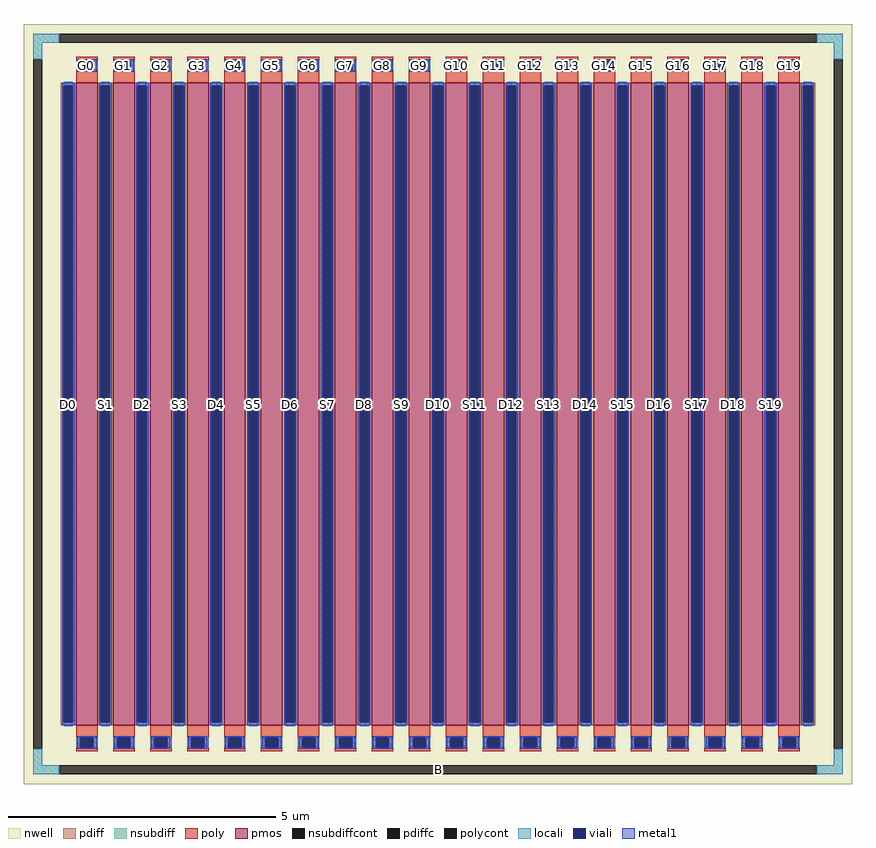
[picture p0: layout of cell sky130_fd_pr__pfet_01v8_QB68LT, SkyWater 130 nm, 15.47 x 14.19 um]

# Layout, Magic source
magic
tech sky130A
magscale 1 2
<< nwell >>
rect -1547 -1419 1547 1419
<< pmos >>
rect -1351 -1200 -1271 1200
rect -1213 -1200 -1133 1200
rect -1075 -1200 -995 1200
rect -937 -1200 -857 1200
rect -799 -1200 -719 1200
rect -661 -1200 -581 1200
rect -523 -1200 -443 1200
rect -385 -1200 -305 1200
rect -247 -1200 -167 1200
rect -109 -1200 -29 1200
rect 29 -1200 109 1200
rect 167 -1200 247 1200
rect 305 -1200 385 1200
rect 443 -1200 523 1200
rect 581 -1200 661 1200
rect 719 -1200 799 1200
rect 857 -1200 937 1200
rect 995 -1200 1075 1200
rect 1133 -1200 1213 1200
rect 1271 -1200 1351 1200
<< pdiff >>
rect -1409 1188 -1351 1200
rect -1409 -1188 -1397 1188
rect -1363 -1188 -1351 1188
rect -1409 -1200 -1351 -1188
rect -1271 1188 -1213 1200
rect -1271 -1188 -1259 1188
rect -1225 -1188 -1213 1188
rect -1271 -1200 -1213 -1188
rect -1133 1188 -1075 1200
rect -1133 -1188 -1121 1188
rect -1087 -1188 -1075 1188
rect -1133 -1200 -1075 -1188
rect -995 1188 -937 1200
rect -995 -1188 -983 1188
rect -949 -1188 -937 1188
rect -995 -1200 -937 -1188
rect -857 1188 -799 1200
rect -857 -1188 -845 1188
rect -811 -1188 -799 1188
rect -857 -1200 -799 -1188
rect -719 1188 -661 1200
rect -719 -1188 -707 1188
rect -673 -1188 -661 1188
rect -719 -1200 -661 -1188
rect -581 1188 -523 1200
rect -581 -1188 -569 1188
rect -535 -1188 -523 1188
rect -581 -1200 -523 -1188
rect -443 1188 -385 1200
rect -443 -1188 -431 1188
rect -397 -1188 -385 1188
rect -443 -1200 -385 -1188
rect -305 1188 -247 1200
rect -305 -1188 -293 1188
rect -259 -1188 -247 1188
rect -305 -1200 -247 -1188
rect -167 1188 -109 1200
rect -167 -1188 -155 1188
rect -121 -1188 -109 1188
rect -167 -1200 -109 -1188
rect -29 1188 29 1200
rect -29 -1188 -17 1188
rect 17 -1188 29 1188
rect -29 -1200 29 -1188
rect 109 1188 167 1200
rect 109 -1188 121 1188
rect 155 -1188 167 1188
rect 109 -1200 167 -1188
rect 247 1188 305 1200
rect 247 -1188 259 1188
rect 293 -1188 305 1188
rect 247 -1200 305 -1188
rect 385 1188 443 1200
rect 385 -1188 397 1188
rect 431 -1188 443 1188
rect 385 -1200 443 -1188
rect 523 1188 581 1200
rect 523 -1188 535 1188
rect 569 -1188 581 1188
rect 523 -1200 581 -1188
rect 661 1188 719 1200
rect 661 -1188 673 1188
rect 707 -1188 719 1188
rect 661 -1200 719 -1188
rect 799 1188 857 1200
rect 799 -1188 811 1188
rect 845 -1188 857 1188
rect 799 -1200 857 -1188
rect 937 1188 995 1200
rect 937 -1188 949 1188
rect 983 -1188 995 1188
rect 937 -1200 995 -1188
rect 1075 1188 1133 1200
rect 1075 -1188 1087 1188
rect 1121 -1188 1133 1188
rect 1075 -1200 1133 -1188
rect 1213 1188 1271 1200
rect 1213 -1188 1225 1188
rect 1259 -1188 1271 1188
rect 1213 -1200 1271 -1188
rect 1351 1188 1409 1200
rect 1351 -1188 1363 1188
rect 1397 -1188 1409 1188
rect 1351 -1200 1409 -1188
<< pdiffc >>
rect -1397 -1188 -1363 1188
rect -1259 -1188 -1225 1188
rect -1121 -1188 -1087 1188
rect -983 -1188 -949 1188
rect -845 -1188 -811 1188
rect -707 -1188 -673 1188
rect -569 -1188 -535 1188
rect -431 -1188 -397 1188
rect -293 -1188 -259 1188
rect -155 -1188 -121 1188
rect -17 -1188 17 1188
rect 121 -1188 155 1188
rect 259 -1188 293 1188
rect 397 -1188 431 1188
rect 535 -1188 569 1188
rect 673 -1188 707 1188
rect 811 -1188 845 1188
rect 949 -1188 983 1188
rect 1087 -1188 1121 1188
rect 1225 -1188 1259 1188
rect 1363 -1188 1397 1188
<< nsubdiff >>
rect -1511 1349 -1415 1383
rect 1415 1349 1511 1383
rect -1511 1287 -1477 1349
rect 1477 1287 1511 1349
rect -1511 -1349 -1477 -1287
rect 1477 -1349 1511 -1287
rect -1511 -1383 -1415 -1349
rect 1415 -1383 1511 -1349
<< nsubdiffcont >>
rect -1415 1349 1415 1383
rect -1511 -1287 -1477 1287
rect 1477 -1287 1511 1287
rect -1415 -1383 1415 -1349
<< poly >>
rect -1351 1281 -1271 1297
rect -1351 1247 -1335 1281
rect -1287 1247 -1271 1281
rect -1351 1200 -1271 1247
rect -1213 1281 -1133 1297
rect -1213 1247 -1197 1281
rect -1149 1247 -1133 1281
rect -1213 1200 -1133 1247
rect -1075 1281 -995 1297
rect -1075 1247 -1059 1281
rect -1011 1247 -995 1281
rect -1075 1200 -995 1247
rect -937 1281 -857 1297
rect -937 1247 -921 1281
rect -873 1247 -857 1281
rect -937 1200 -857 1247
rect -799 1281 -719 1297
rect -799 1247 -783 1281
rect -735 1247 -719 1281
rect -799 1200 -719 1247
rect -661 1281 -581 1297
rect -661 1247 -645 1281
rect -597 1247 -581 1281
rect -661 1200 -581 1247
rect -523 1281 -443 1297
rect -523 1247 -507 1281
rect -459 1247 -443 1281
rect -523 1200 -443 1247
rect -385 1281 -305 1297
rect -385 1247 -369 1281
rect -321 1247 -305 1281
rect -385 1200 -305 1247
rect -247 1281 -167 1297
rect -247 1247 -231 1281
rect -183 1247 -167 1281
rect -247 1200 -167 1247
rect -109 1281 -29 1297
rect -109 1247 -93 1281
rect -45 1247 -29 1281
rect -109 1200 -29 1247
rect 29 1281 109 1297
rect 29 1247 45 1281
rect 93 1247 109 1281
rect 29 1200 109 1247
rect 167 1281 247 1297
rect 167 1247 183 1281
rect 231 1247 247 1281
rect 167 1200 247 1247
rect 305 1281 385 1297
rect 305 1247 321 1281
rect 369 1247 385 1281
rect 305 1200 385 1247
rect 443 1281 523 1297
rect 443 1247 459 1281
rect 507 1247 523 1281
rect 443 1200 523 1247
rect 581 1281 661 1297
rect 581 1247 597 1281
rect 645 1247 661 1281
rect 581 1200 661 1247
rect 719 1281 799 1297
rect 719 1247 735 1281
rect 783 1247 799 1281
rect 719 1200 799 1247
rect 857 1281 937 1297
rect 857 1247 873 1281
rect 921 1247 937 1281
rect 857 1200 937 1247
rect 995 1281 1075 1297
rect 995 1247 1011 1281
rect 1059 1247 1075 1281
rect 995 1200 1075 1247
rect 1133 1281 1213 1297
rect 1133 1247 1149 1281
rect 1197 1247 1213 1281
rect 1133 1200 1213 1247
rect 1271 1281 1351 1297
rect 1271 1247 1287 1281
rect 1335 1247 1351 1281
rect 1271 1200 1351 1247
rect -1351 -1247 -1271 -1200
rect -1351 -1281 -1335 -1247
rect -1287 -1281 -1271 -1247
rect -1351 -1297 -1271 -1281
rect -1213 -1247 -1133 -1200
rect -1213 -1281 -1197 -1247
rect -1149 -1281 -1133 -1247
rect -1213 -1297 -1133 -1281
rect -1075 -1247 -995 -1200
rect -1075 -1281 -1059 -1247
rect -1011 -1281 -995 -1247
rect -1075 -1297 -995 -1281
rect -937 -1247 -857 -1200
rect -937 -1281 -921 -1247
rect -873 -1281 -857 -1247
rect -937 -1297 -857 -1281
rect -799 -1247 -719 -1200
rect -799 -1281 -783 -1247
rect -735 -1281 -719 -1247
rect -799 -1297 -719 -1281
rect -661 -1247 -581 -1200
rect -661 -1281 -645 -1247
rect -597 -1281 -581 -1247
rect -661 -1297 -581 -1281
rect -523 -1247 -443 -1200
rect -523 -1281 -507 -1247
rect -459 -1281 -443 -1247
rect -523 -1297 -443 -1281
rect -385 -1247 -305 -1200
rect -385 -1281 -369 -1247
rect -321 -1281 -305 -1247
rect -385 -1297 -305 -1281
rect -247 -1247 -167 -1200
rect -247 -1281 -231 -1247
rect -183 -1281 -167 -1247
rect -247 -1297 -167 -1281
rect -109 -1247 -29 -1200
rect -109 -1281 -93 -1247
rect -45 -1281 -29 -1247
rect -109 -1297 -29 -1281
rect 29 -1247 109 -1200
rect 29 -1281 45 -1247
rect 93 -1281 109 -1247
rect 29 -1297 109 -1281
rect 167 -1247 247 -1200
rect 167 -1281 183 -1247
rect 231 -1281 247 -1247
rect 167 -1297 247 -1281
rect 305 -1247 385 -1200
rect 305 -1281 321 -1247
rect 369 -1281 385 -1247
rect 305 -1297 385 -1281
rect 443 -1247 523 -1200
rect 443 -1281 459 -1247
rect 507 -1281 523 -1247
rect 443 -1297 523 -1281
rect 581 -1247 661 -1200
rect 581 -1281 597 -1247
rect 645 -1281 661 -1247
rect 581 -1297 661 -1281
rect 719 -1247 799 -1200
rect 719 -1281 735 -1247
rect 783 -1281 799 -1247
rect 719 -1297 799 -1281
rect 857 -1247 937 -1200
rect 857 -1281 873 -1247
rect 921 -1281 937 -1247
rect 857 -1297 937 -1281
rect 995 -1247 1075 -1200
rect 995 -1281 1011 -1247
rect 1059 -1281 1075 -1247
rect 995 -1297 1075 -1281
rect 1133 -1247 1213 -1200
rect 1133 -1281 1149 -1247
rect 1197 -1281 1213 -1247
rect 1133 -1297 1213 -1281
rect 1271 -1247 1351 -1200
rect 1271 -1281 1287 -1247
rect 1335 -1281 1351 -1247
rect 1271 -1297 1351 -1281
<< polycont >>
rect -1335 1247 -1287 1281
rect -1197 1247 -1149 1281
rect -1059 1247 -1011 1281
rect -921 1247 -873 1281
rect -783 1247 -735 1281
rect -645 1247 -597 1281
rect -507 1247 -459 1281
rect -369 1247 -321 1281
rect -231 1247 -183 1281
rect -93 1247 -45 1281
rect 45 1247 93 1281
rect 183 1247 231 1281
rect 321 1247 369 1281
rect 459 1247 507 1281
rect 597 1247 645 1281
rect 735 1247 783 1281
rect 873 1247 921 1281
rect 1011 1247 1059 1281
rect 1149 1247 1197 1281
rect 1287 1247 1335 1281
rect -1335 -1281 -1287 -1247
rect -1197 -1281 -1149 -1247
rect -1059 -1281 -1011 -1247
rect -921 -1281 -873 -1247
rect -783 -1281 -735 -1247
rect -645 -1281 -597 -1247
rect -507 -1281 -459 -1247
rect -369 -1281 -321 -1247
rect -231 -1281 -183 -1247
rect -93 -1281 -45 -1247
rect 45 -1281 93 -1247
rect 183 -1281 231 -1247
rect 321 -1281 369 -1247
rect 459 -1281 507 -1247
rect 597 -1281 645 -1247
rect 735 -1281 783 -1247
rect 873 -1281 921 -1247
rect 1011 -1281 1059 -1247
rect 1149 -1281 1197 -1247
rect 1287 -1281 1335 -1247
<< locali >>
rect -1511 1349 -1415 1383
rect 1415 1349 1511 1383
rect -1511 1287 -1477 1349
rect 1477 1287 1511 1349
rect -1351 1247 -1335 1281
rect -1287 1247 -1271 1281
rect -1213 1247 -1197 1281
rect -1149 1247 -1133 1281
rect -1075 1247 -1059 1281
rect -1011 1247 -995 1281
rect -937 1247 -921 1281
rect -873 1247 -857 1281
rect -799 1247 -783 1281
rect -735 1247 -719 1281
rect -661 1247 -645 1281
rect -597 1247 -581 1281
rect -523 1247 -507 1281
rect -459 1247 -443 1281
rect -385 1247 -369 1281
rect -321 1247 -305 1281
rect -247 1247 -231 1281
rect -183 1247 -167 1281
rect -109 1247 -93 1281
rect -45 1247 -29 1281
rect 29 1247 45 1281
rect 93 1247 109 1281
rect 167 1247 183 1281
rect 231 1247 247 1281
rect 305 1247 321 1281
rect 369 1247 385 1281
rect 443 1247 459 1281
rect 507 1247 523 1281
rect 581 1247 597 1281
rect 645 1247 661 1281
rect 719 1247 735 1281
rect 783 1247 799 1281
rect 857 1247 873 1281
rect 921 1247 937 1281
rect 995 1247 1011 1281
rect 1059 1247 1075 1281
rect 1133 1247 1149 1281
rect 1197 1247 1213 1281
rect 1271 1247 1287 1281
rect 1335 1247 1351 1281
rect -1397 1188 -1363 1204
rect -1397 -1204 -1363 -1188
rect -1259 1188 -1225 1204
rect -1259 -1204 -1225 -1188
rect -1121 1188 -1087 1204
rect -1121 -1204 -1087 -1188
rect -983 1188 -949 1204
rect -983 -1204 -949 -1188
rect -845 1188 -811 1204
rect -845 -1204 -811 -1188
rect -707 1188 -673 1204
rect -707 -1204 -673 -1188
rect -569 1188 -535 1204
rect -569 -1204 -535 -1188
rect -431 1188 -397 1204
rect -431 -1204 -397 -1188
rect -293 1188 -259 1204
rect -293 -1204 -259 -1188
rect -155 1188 -121 1204
rect -155 -1204 -121 -1188
rect -17 1188 17 1204
rect -17 -1204 17 -1188
rect 121 1188 155 1204
rect 121 -1204 155 -1188
rect 259 1188 293 1204
rect 259 -1204 293 -1188
rect 397 1188 431 1204
rect 397 -1204 431 -1188
rect 535 1188 569 1204
rect 535 -1204 569 -1188
rect 673 1188 707 1204
rect 673 -1204 707 -1188
rect 811 1188 845 1204
rect 811 -1204 845 -1188
rect 949 1188 983 1204
rect 949 -1204 983 -1188
rect 1087 1188 1121 1204
rect 1087 -1204 1121 -1188
rect 1225 1188 1259 1204
rect 1225 -1204 1259 -1188
rect 1363 1188 1397 1204
rect 1363 -1204 1397 -1188
rect -1351 -1281 -1335 -1247
rect -1287 -1281 -1271 -1247
rect -1213 -1281 -1197 -1247
rect -1149 -1281 -1133 -1247
rect -1075 -1281 -1059 -1247
rect -1011 -1281 -995 -1247
rect -937 -1281 -921 -1247
rect -873 -1281 -857 -1247
rect -799 -1281 -783 -1247
rect -735 -1281 -719 -1247
rect -661 -1281 -645 -1247
rect -597 -1281 -581 -1247
rect -523 -1281 -507 -1247
rect -459 -1281 -443 -1247
rect -385 -1281 -369 -1247
rect -321 -1281 -305 -1247
rect -247 -1281 -231 -1247
rect -183 -1281 -167 -1247
rect -109 -1281 -93 -1247
rect -45 -1281 -29 -1247
rect 29 -1281 45 -1247
rect 93 -1281 109 -1247
rect 167 -1281 183 -1247
rect 231 -1281 247 -1247
rect 305 -1281 321 -1247
rect 369 -1281 385 -1247
rect 443 -1281 459 -1247
rect 507 -1281 523 -1247
rect 581 -1281 597 -1247
rect 645 -1281 661 -1247
rect 719 -1281 735 -1247
rect 783 -1281 799 -1247
rect 857 -1281 873 -1247
rect 921 -1281 937 -1247
rect 995 -1281 1011 -1247
rect 1059 -1281 1075 -1247
rect 1133 -1281 1149 -1247
rect 1197 -1281 1213 -1247
rect 1271 -1281 1287 -1247
rect 1335 -1281 1351 -1247
rect -1511 -1349 -1477 -1287
rect 1477 -1349 1511 -1287
rect -1511 -1383 -1415 -1349
rect 1415 -1383 1511 -1349
<< viali >>
rect -1335 1247 -1287 1281
rect -1197 1247 -1149 1281
rect -1059 1247 -1011 1281
rect -921 1247 -873 1281
rect -783 1247 -735 1281
rect -645 1247 -597 1281
rect -507 1247 -459 1281
rect -369 1247 -321 1281
rect -231 1247 -183 1281
rect -93 1247 -45 1281
rect 45 1247 93 1281
rect 183 1247 231 1281
rect 321 1247 369 1281
rect 459 1247 507 1281
rect 597 1247 645 1281
rect 735 1247 783 1281
rect 873 1247 921 1281
rect 1011 1247 1059 1281
rect 1149 1247 1197 1281
rect 1287 1247 1335 1281
rect -1397 -1188 -1363 1188
rect -1259 -1188 -1225 1188
rect -1121 -1188 -1087 1188
rect -983 -1188 -949 1188
rect -845 -1188 -811 1188
rect -707 -1188 -673 1188
rect -569 -1188 -535 1188
rect -431 -1188 -397 1188
rect -293 -1188 -259 1188
rect -155 -1188 -121 1188
rect -17 -1188 17 1188
rect 121 -1188 155 1188
rect 259 -1188 293 1188
rect 397 -1188 431 1188
rect 535 -1188 569 1188
rect 673 -1188 707 1188
rect 811 -1188 845 1188
rect 949 -1188 983 1188
rect 1087 -1188 1121 1188
rect 1225 -1188 1259 1188
rect 1363 -1188 1397 1188
rect -1335 -1281 -1287 -1247
rect -1197 -1281 -1149 -1247
rect -1059 -1281 -1011 -1247
rect -921 -1281 -873 -1247
rect -783 -1281 -735 -1247
rect -645 -1281 -597 -1247
rect -507 -1281 -459 -1247
rect -369 -1281 -321 -1247
rect -231 -1281 -183 -1247
rect -93 -1281 -45 -1247
rect 45 -1281 93 -1247
rect 183 -1281 231 -1247
rect 321 -1281 369 -1247
rect 459 -1281 507 -1247
rect 597 -1281 645 -1247
rect 735 -1281 783 -1247
rect 873 -1281 921 -1247
rect 1011 -1281 1059 -1247
rect 1149 -1281 1197 -1247
rect 1287 -1281 1335 -1247
<< metal1 >>
rect -1347 1281 -1275 1287
rect -1347 1247 -1335 1281
rect -1287 1247 -1275 1281
rect -1347 1241 -1275 1247
rect -1209 1281 -1137 1287
rect -1209 1247 -1197 1281
rect -1149 1247 -1137 1281
rect -1209 1241 -1137 1247
rect -1071 1281 -999 1287
rect -1071 1247 -1059 1281
rect -1011 1247 -999 1281
rect -1071 1241 -999 1247
rect -933 1281 -861 1287
rect -933 1247 -921 1281
rect -873 1247 -861 1281
rect -933 1241 -861 1247
rect -795 1281 -723 1287
rect -795 1247 -783 1281
rect -735 1247 -723 1281
rect -795 1241 -723 1247
rect -657 1281 -585 1287
rect -657 1247 -645 1281
rect -597 1247 -585 1281
rect -657 1241 -585 1247
rect -519 1281 -447 1287
rect -519 1247 -507 1281
rect -459 1247 -447 1281
rect -519 1241 -447 1247
rect -381 1281 -309 1287
rect -381 1247 -369 1281
rect -321 1247 -309 1281
rect -381 1241 -309 1247
rect -243 1281 -171 1287
rect -243 1247 -231 1281
rect -183 1247 -171 1281
rect -243 1241 -171 1247
rect -105 1281 -33 1287
rect -105 1247 -93 1281
rect -45 1247 -33 1281
rect -105 1241 -33 1247
rect 33 1281 105 1287
rect 33 1247 45 1281
rect 93 1247 105 1281
rect 33 1241 105 1247
rect 171 1281 243 1287
rect 171 1247 183 1281
rect 231 1247 243 1281
rect 171 1241 243 1247
rect 309 1281 381 1287
rect 309 1247 321 1281
rect 369 1247 381 1281
rect 309 1241 381 1247
rect 447 1281 519 1287
rect 447 1247 459 1281
rect 507 1247 519 1281
rect 447 1241 519 1247
rect 585 1281 657 1287
rect 585 1247 597 1281
rect 645 1247 657 1281
rect 585 1241 657 1247
rect 723 1281 795 1287
rect 723 1247 735 1281
rect 783 1247 795 1281
rect 723 1241 795 1247
rect 861 1281 933 1287
rect 861 1247 873 1281
rect 921 1247 933 1281
rect 861 1241 933 1247
rect 999 1281 1071 1287
rect 999 1247 1011 1281
rect 1059 1247 1071 1281
rect 999 1241 1071 1247
rect 1137 1281 1209 1287
rect 1137 1247 1149 1281
rect 1197 1247 1209 1281
rect 1137 1241 1209 1247
rect 1275 1281 1347 1287
rect 1275 1247 1287 1281
rect 1335 1247 1347 1281
rect 1275 1241 1347 1247
rect -1403 1188 -1357 1200
rect -1403 -1188 -1397 1188
rect -1363 -1188 -1357 1188
rect -1403 -1200 -1357 -1188
rect -1265 1188 -1219 1200
rect -1265 -1188 -1259 1188
rect -1225 -1188 -1219 1188
rect -1265 -1200 -1219 -1188
rect -1127 1188 -1081 1200
rect -1127 -1188 -1121 1188
rect -1087 -1188 -1081 1188
rect -1127 -1200 -1081 -1188
rect -989 1188 -943 1200
rect -989 -1188 -983 1188
rect -949 -1188 -943 1188
rect -989 -1200 -943 -1188
rect -851 1188 -805 1200
rect -851 -1188 -845 1188
rect -811 -1188 -805 1188
rect -851 -1200 -805 -1188
rect -713 1188 -667 1200
rect -713 -1188 -707 1188
rect -673 -1188 -667 1188
rect -713 -1200 -667 -1188
rect -575 1188 -529 1200
rect -575 -1188 -569 1188
rect -535 -1188 -529 1188
rect -575 -1200 -529 -1188
rect -437 1188 -391 1200
rect -437 -1188 -431 1188
rect -397 -1188 -391 1188
rect -437 -1200 -391 -1188
rect -299 1188 -253 1200
rect -299 -1188 -293 1188
rect -259 -1188 -253 1188
rect -299 -1200 -253 -1188
rect -161 1188 -115 1200
rect -161 -1188 -155 1188
rect -121 -1188 -115 1188
rect -161 -1200 -115 -1188
rect -23 1188 23 1200
rect -23 -1188 -17 1188
rect 17 -1188 23 1188
rect -23 -1200 23 -1188
rect 115 1188 161 1200
rect 115 -1188 121 1188
rect 155 -1188 161 1188
rect 115 -1200 161 -1188
rect 253 1188 299 1200
rect 253 -1188 259 1188
rect 293 -1188 299 1188
rect 253 -1200 299 -1188
rect 391 1188 437 1200
rect 391 -1188 397 1188
rect 431 -1188 437 1188
rect 391 -1200 437 -1188
rect 529 1188 575 1200
rect 529 -1188 535 1188
rect 569 -1188 575 1188
rect 529 -1200 575 -1188
rect 667 1188 713 1200
rect 667 -1188 673 1188
rect 707 -1188 713 1188
rect 667 -1200 713 -1188
rect 805 1188 851 1200
rect 805 -1188 811 1188
rect 845 -1188 851 1188
rect 805 -1200 851 -1188
rect 943 1188 989 1200
rect 943 -1188 949 1188
rect 983 -1188 989 1188
rect 943 -1200 989 -1188
rect 1081 1188 1127 1200
rect 1081 -1188 1087 1188
rect 1121 -1188 1127 1188
rect 1081 -1200 1127 -1188
rect 1219 1188 1265 1200
rect 1219 -1188 1225 1188
rect 1259 -1188 1265 1188
rect 1219 -1200 1265 -1188
rect 1357 1188 1403 1200
rect 1357 -1188 1363 1188
rect 1397 -1188 1403 1188
rect 1357 -1200 1403 -1188
rect -1347 -1247 -1275 -1241
rect -1347 -1281 -1335 -1247
rect -1287 -1281 -1275 -1247
rect -1347 -1287 -1275 -1281
rect -1209 -1247 -1137 -1241
rect -1209 -1281 -1197 -1247
rect -1149 -1281 -1137 -1247
rect -1209 -1287 -1137 -1281
rect -1071 -1247 -999 -1241
rect -1071 -1281 -1059 -1247
rect -1011 -1281 -999 -1247
rect -1071 -1287 -999 -1281
rect -933 -1247 -861 -1241
rect -933 -1281 -921 -1247
rect -873 -1281 -861 -1247
rect -933 -1287 -861 -1281
rect -795 -1247 -723 -1241
rect -795 -1281 -783 -1247
rect -735 -1281 -723 -1247
rect -795 -1287 -723 -1281
rect -657 -1247 -585 -1241
rect -657 -1281 -645 -1247
rect -597 -1281 -585 -1247
rect -657 -1287 -585 -1281
rect -519 -1247 -447 -1241
rect -519 -1281 -507 -1247
rect -459 -1281 -447 -1247
rect -519 -1287 -447 -1281
rect -381 -1247 -309 -1241
rect -381 -1281 -369 -1247
rect -321 -1281 -309 -1247
rect -381 -1287 -309 -1281
rect -243 -1247 -171 -1241
rect -243 -1281 -231 -1247
rect -183 -1281 -171 -1247
rect -243 -1287 -171 -1281
rect -105 -1247 -33 -1241
rect -105 -1281 -93 -1247
rect -45 -1281 -33 -1247
rect -105 -1287 -33 -1281
rect 33 -1247 105 -1241
rect 33 -1281 45 -1247
rect 93 -1281 105 -1247
rect 33 -1287 105 -1281
rect 171 -1247 243 -1241
rect 171 -1281 183 -1247
rect 231 -1281 243 -1247
rect 171 -1287 243 -1281
rect 309 -1247 381 -1241
rect 309 -1281 321 -1247
rect 369 -1281 381 -1247
rect 309 -1287 381 -1281
rect 447 -1247 519 -1241
rect 447 -1281 459 -1247
rect 507 -1281 519 -1247
rect 447 -1287 519 -1281
rect 585 -1247 657 -1241
rect 585 -1281 597 -1247
rect 645 -1281 657 -1247
rect 585 -1287 657 -1281
rect 723 -1247 795 -1241
rect 723 -1281 735 -1247
rect 783 -1281 795 -1247
rect 723 -1287 795 -1281
rect 861 -1247 933 -1241
rect 861 -1281 873 -1247
rect 921 -1281 933 -1247
rect 861 -1287 933 -1281
rect 999 -1247 1071 -1241
rect 999 -1281 1011 -1247
rect 1059 -1281 1071 -1247
rect 999 -1287 1071 -1281
rect 1137 -1247 1209 -1241
rect 1137 -1281 1149 -1247
rect 1197 -1281 1209 -1247
rect 1137 -1287 1209 -1281
rect 1275 -1247 1347 -1241
rect 1275 -1281 1287 -1247
rect 1335 -1281 1347 -1247
rect 1275 -1287 1347 -1281
<< labels >>
rlabel nsubdiffcont 0 -1366 0 -1366 0 B
port 206 nsew
rlabel pdiffc -1380 0 -1380 0 0 D0
port 207 nsew
rlabel polycont -1311 1264 -1311 1264 0 G0
port 208 nsew
rlabel pdiffc -1242 0 -1242 0 0 S1
port 209 nsew
rlabel polycont -1173 1264 -1173 1264 0 G1
port 210 nsew
rlabel pdiffc -1104 0 -1104 0 0 D2
port 211 nsew
rlabel polycont -1035 1264 -1035 1264 0 G2
port 212 nsew
rlabel pdiffc -966 0 -966 0 0 S3
port 213 nsew
rlabel polycont -897 1264 -897 1264 0 G3
port 214 nsew
rlabel pdiffc -828 0 -828 0 0 D4
port 215 nsew
rlabel polycont -759 1264 -759 1264 0 G4
port 216 nsew
rlabel pdiffc -690 0 -690 0 0 S5
port 217 nsew
rlabel polycont -621 1264 -621 1264 0 G5
port 218 nsew
rlabel pdiffc -552 0 -552 0 0 D6
port 219 nsew
rlabel polycont -483 1264 -483 1264 0 G6
port 220 nsew
rlabel pdiffc -414 0 -414 0 0 S7
port 221 nsew
rlabel polycont -345 1264 -345 1264 0 G7
port 222 nsew
rlabel pdiffc -276 0 -276 0 0 D8
port 223 nsew
rlabel polycont -207 1264 -207 1264 0 G8
port 224 nsew
rlabel pdiffc -138 0 -138 0 0 S9
port 225 nsew
rlabel polycont -69 1264 -69 1264 0 G9
port 226 nsew
rlabel pdiffc 0 0 0 0 0 D10
port 227 nsew
rlabel polycont 69 1264 69 1264 0 G10
port 228 nsew
rlabel pdiffc 138 0 138 0 0 S11
port 229 nsew
rlabel polycont 207 1264 207 1264 0 G11
port 230 nsew
rlabel pdiffc 276 0 276 0 0 D12
port 231 nsew
rlabel polycont 345 1264 345 1264 0 G12
port 232 nsew
rlabel pdiffc 414 0 414 0 0 S13
port 233 nsew
rlabel polycont 483 1264 483 1264 0 G13
port 234 nsew
rlabel pdiffc 552 0 552 0 0 D14
port 235 nsew
rlabel polycont 621 1264 621 1264 0 G14
port 236 nsew
rlabel pdiffc 690 0 690 0 0 S15
port 237 nsew
rlabel polycont 759 1264 759 1264 0 G15
port 238 nsew
rlabel pdiffc 828 0 828 0 0 D16
port 239 nsew
rlabel polycont 897 1264 897 1264 0 G16
port 240 nsew
rlabel pdiffc 966 0 966 0 0 S17
port 241 nsew
rlabel polycont 1035 1264 1035 1264 0 G17
port 242 nsew
rlabel pdiffc 1104 0 1104 0 0 D18
port 243 nsew
rlabel polycont 1173 1264 1173 1264 0 G18
port 244 nsew
rlabel pdiffc 1242 0 1242 0 0 S19
port 245 nsew
rlabel polycont 1311 1264 1311 1264 0 G19
port 246 nsew
<< properties >>
string FIXED_BBOX -1494 -1366 1494 1366
string gencell sky130_fd_pr__pfet_01v8
string library sky130
string parameters w 12.0 l 0.4 m 1 nf 20 diffcov 100 polycov 100 guard 1 glc 1 grc 1 gtc 1 gbc 1 tbcov 100 rlcov 100 topc 1 botc 1 poverlap 0 doverlap 1 lmin 0.15 wmin 0.42 class mosfet compatible {sky130_fd_pr__pfet_01v8  sky130_fd_pr__pfet_01v8_lvt sky130_fd_pr__pfet_01v8_hvt  sky130_fd_pr__pfet_g5v0d10v5} full_metal 1 conn_gates 0 viasrc 100 viadrn 100 viagate 100 viagb 0 viagr 0 viagl 0 viagt 0 doports 1
<< end >>
